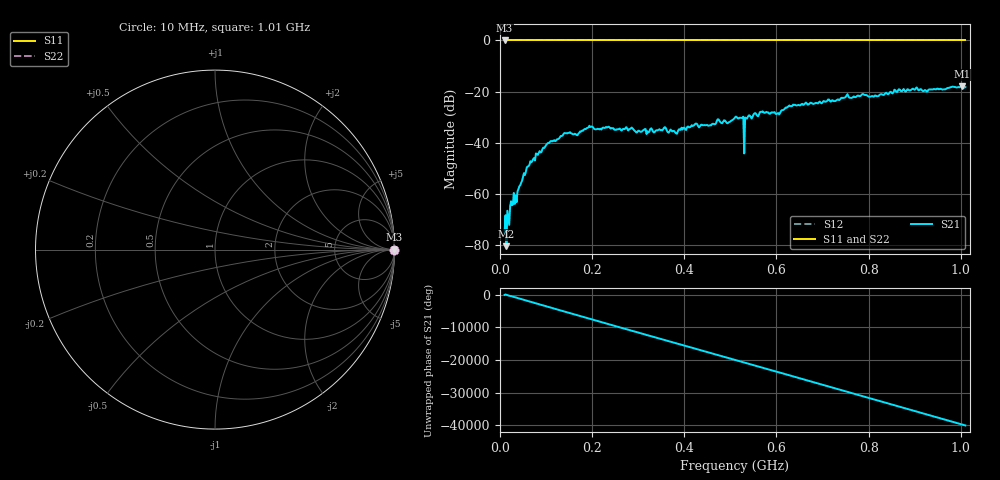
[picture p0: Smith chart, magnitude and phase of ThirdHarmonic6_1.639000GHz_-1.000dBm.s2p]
! 8/16/2025 7:36:27 PM
! C:\ANRITSUVNA\TEMP\TEMP.S2P
! CHANNEL.1
! TR.MEASUREMENT
! RAW.DATA
! RF.CORRECTION.OFF
! AVERAGING.OFF
! IF.BANDWIDTH: 5KHZ
! SWEEPTYPE:  FREQ.SWEEP(Linear)
! Reference Plane Port Info
! PORT:  PORT1  PORT2
! DISTANCE:  0  m  0  m
! TIME:  0  s  0  s
! PHASE.OFFSET:  0  deg.  0  deg.
! LOSS:  0  dB  0  dB
! REF.LOSS:  0  dB  0  dB
! REF.FREQ:  0  Hz  0  Hz
! Power Info
! POWER:  -20  dBm  -20  dBm
! EFF.POWER:  -20  dBm  -20  dBm
! SOURCE.ATTEN:  0  dB  0  dB
! TEST.ATTEN:  0  dB  0  dB
# GHZ S RI R 50.0
! FREQ.GHZ  S11RE  S11IM  S21RE  S21IM  S12RE  S12IM  S22RE  S22IM
!; PortSelection: Port_12
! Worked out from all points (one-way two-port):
!   501 points, 10 MHz to 1.01 GHz, reference 50 ohm
!   highest |S21| = -18.01 dB at 1.002 GHz (marker M1); lowest = -80.6 dB at 14 MHz (marker M2)
!   lowest |S11| = 0.0 dB at 10 MHz (marker M3)
!   |S11| at or under -10 dB: nowhere
!   |S22| runs from 0.0 to 0.0 dB; largest |S21 - S12| = 1.1
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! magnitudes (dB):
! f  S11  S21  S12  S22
! 10 MHz  0.0  -75.1  0.0  0.0
! 14 MHz  0.0  -80.6  0.0  0.0
! 18 MHz  0.0  -69.6  0.0  0.0
! 26 MHz  0.0  -64.5  0.0  0.0
! 36 MHz  0.0  -63.4  0.0  0.0
! 62 MHz  0.0  -49.2  0.0  0.0
! 82 MHz  0.0  -44.8  0.0  0.0
! 140 MHz  0.0  -36.3  0.0  0.0
! 178 MHz  0.0  -35.3  0.0  0.0
! 344 MHz  0.0  -35.0  0.0  0.0
! 382 MHz  0.0  -36.3  0.0  0.0
! 510 MHz  0.0  -30.2  0.0  0.0
! 524 MHz  0.0  -30.4  0.0  0.0
! 526 MHz  0.0  -30.3  0.0  0.0
! 534 MHz  0.0  -30.4  0.0  0.0
! 536 MHz  0.0  -30.6  0.0  0.0
! 568 MHz  0.0  -28.0  0.0  0.0
! 602 MHz  0.0  -28.5  0.0  0.0
! 678 MHz  0.0  -24.7  0.0  0.0
! 844 MHz  0.0  -20.8  0.0  0.0
! 1.002 GHz  0.0  -18.0  0.0  0.0
! 1.01 GHz  0.0  -18.3  0.0  0.0
